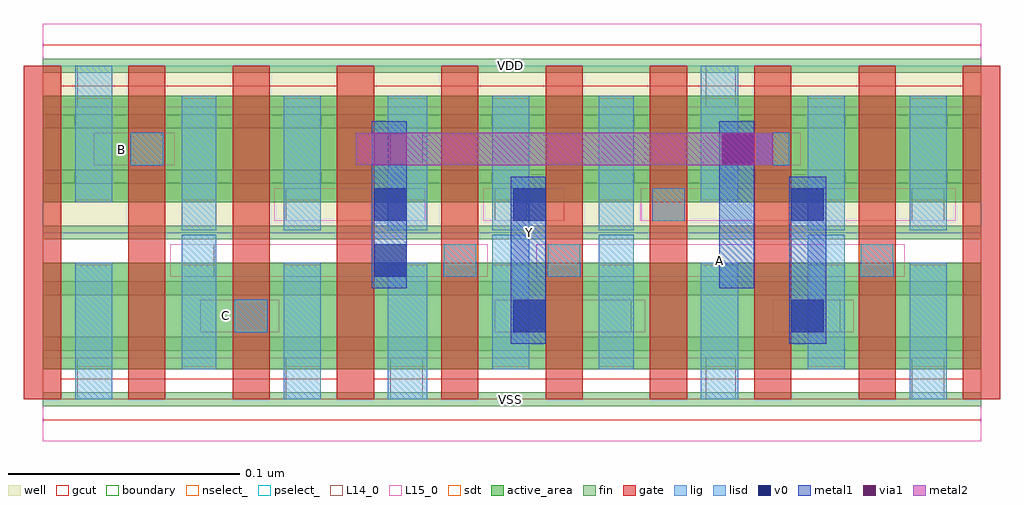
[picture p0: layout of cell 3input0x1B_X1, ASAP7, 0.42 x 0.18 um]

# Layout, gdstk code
import gdstk
lib = gdstk.Library(unit=1e-6, precision=1e-09)
def R(c, l, rs):  # rectangles x0, y0, x1, y1
    for r in rs: c.add(gdstk.rectangle(r[:2], r[2:], *l))
def A(c, l, x, y, w, h, nx, ny, dx, dy):  # array of equal rectangles
    R(c, l, [(x+i*dx, y+j*dy, x+i*dx+w, y+j*dy+h) for i in range(nx) for j in range(ny)])
def P(c, l, *ps):  # polygons
    for p in ps: c.add(gdstk.Polygon(p, *l))
well = (1, 0)
fin = (2, 0)
gate = (7, 0)
gcut = (10, 0)
active_area = (11, 0)
nselect_ = (12, 0)
pselect_ = (13, 0)
L14_0 = (14, 0)
L15_0 = (15, 0)
lig = (16, 0)
lisd = (17, 0)
v0 = (18, 0)
metal1 = (19, 0)
metal2 = (20, 0)
via1 = (21, 0)
sdt = (88, 0)
boundary = (100, 0)

c_3input0x1b_x1 = lib.new_cell('3input0x1B_X1')
R(c_3input0x1b_x1, well, [(0,0.072,0.405,0.144)])
A(c_3input0x1b_x1, fin, 0, -0.003, 0.405, 0.006, 1, 7, 0, 0.024)
A(c_3input0x1b_x1, gate, -0.008, 0, 0.016, 0.144, 10, 1, 0.045, 0)
P(c_3input0x1b_x1, gcut, [(0,-0.009),(0,0),(-0.008,0),(-0.008,0.135),(0.008,0.135),(0.008,0.009),(0.127,0.009),(0.127,0.135),(0.143,0.135),(0.143,0.009),(0.397,0.009),(0.397,0.135),(-0.008,0.135),(-0.008,0.144),(0,0.144),(0,0.153),(0.405,0.153),(0.405,0.144),(0.413,0.144),(0.413,0),(0.405,0),(0.405,-0.009)])
R(c_3input0x1b_x1, active_area, [(0,0.013,0.405,0.059), (0,0.085,0.405,0.131)])
R(c_3input0x1b_x1, nselect_, [(0,0,0.405,0.072)])
R(c_3input0x1b_x1, pselect_, [(0,0.072,0.405,0.144)])
R(c_3input0x1b_x1, L14_0, [(0.015,0,0.03,0.018), (0.105,0,0.12,0.018), (0.15,0,0.164,0.018), (0.286,0,0.299,0.018), (0.375,0,0.389,0.018), (0.083,0.029,0.097,0.043), (0.24,0.029,0.254,0.043), (0.33,0.029,0.344,0.043), (0.06,0.053,0.074,0.067), (0.173,0.053,0.187,0.067), (0.218,0.053,0.232,0.067), (0.353,0.053,0.367,0.067), (0.105,0.077,0.12,0.091), (0.195,0.077,0.209,0.091), (0.263,0.077,0.277,0.091), (0.375,0.077,0.389,0.091), (0.038,0.101,0.052,0.115), (0.15,0.101,0.164,0.115), (0.24,0.101,0.254,0.115), (0.308,0.101,0.322,0.115), (0.015,0.126,0.03,0.144), (0.286,0.126,0.299,0.144)])
R(c_3input0x1b_x1, L15_0, [(0,-0.018,0.405,0.018), (0.068,0.029,0.102,0.043), (0.195,0.029,0.26,0.043), (0.315,0.029,0.35,0.043), (0.055,0.053,0.192,0.067), (0.213,0.053,0.372,0.067), (0.1,0.077,0.165,0.091), (0.19,0.077,0.225,0.091), (0.258,0.077,0.394,0.091), (0.022,0.101,0.057,0.115), (0.145,0.101,0.26,0.115), (0.285,0.101,0.327,0.115), (0,0.126,0.405,0.162)])
R(c_3input0x1b_x1, lig, [(0.083,0.029,0.097,0.043), (0.173,0.053,0.187,0.067), (0.218,0.053,0.232,0.067), (0.353,0.053,0.367,0.067), (0.263,0.077,0.277,0.091), (0.038,0.101,0.052,0.115), (0.308,0.101,0.322,0.115)])
R(c_3input0x1b_x1, lisd, [(0.014,0,0.03,0.059), (0.104,0,0.12,0.059), (0.149,0,0.166,0.059), (0.284,0,0.3,0.059), (0.374,0,0.39,0.059), (0.06,0.013,0.075,0.071), (0.194,0.013,0.21,0.071), (0.24,0.013,0.255,0.071), (0.33,0.013,0.346,0.071), (0.06,0.073,0.075,0.131), (0.104,0.073,0.12,0.131), (0.149,0.073,0.166,0.131), (0.194,0.073,0.21,0.131), (0.24,0.073,0.255,0.131), (0.33,0.073,0.346,0.131), (0.374,0.073,0.39,0.131), (0.014,0.085,0.03,0.144), (0.284,0.085,0.3,0.144)])
R(c_3input0x1b_x1, v0, [(0.203,0.029,0.217,0.043), (0.323,0.029,0.337,0.043), (0.143,0.053,0.157,0.067), (0.143,0.077,0.157,0.091), (0.203,0.077,0.217,0.091), (0.323,0.077,0.337,0.091), (0.293,0.101,0.307,0.115)])
R(c_3input0x1b_x1, metal1, [(0.202,0.024,0.217,0.096), (0.322,0.024,0.338,0.096), (0.142,0.048,0.157,0.12), (0.292,0.048,0.307,0.12)])
R(c_3input0x1b_x1, metal2, [(0.135,0.101,0.315,0.115)])
R(c_3input0x1b_x1, via1, [(0.143,0.101,0.157,0.115), (0.293,0.101,0.307,0.115)])
A(c_3input0x1b_x1, sdt, 0.014, 0.014, 0.016, 0.044, 4, 2, 0.09, 0.072)
R(c_3input0x1b_x1, sdt, [(0.06,0.014,0.075,0.058), (0.149,0.014,0.166,0.058), (0.24,0.014,0.255,0.058), (0.33,0.014,0.346,0.058), (0.374,0.014,0.39,0.058), (0.06,0.086,0.075,0.13), (0.149,0.086,0.166,0.13), (0.24,0.086,0.255,0.13), (0.33,0.086,0.346,0.13), (0.374,0.086,0.39,0.13)])
R(c_3input0x1b_x1, boundary, [(0,0,0.405,0.144)])
c_3input0x1b_x1.add(gdstk.Label('A', (0.292,0.06), layer=15, texttype=251))
c_3input0x1b_x1.add(gdstk.Label('VSS', (0.202,0), layer=15, texttype=251))
c_3input0x1b_x1.add(gdstk.Label('VDD', (0.202,0.144), layer=15, texttype=251))
c_3input0x1b_x1.add(gdstk.Label('C', (0.079,0.036), layer=15, texttype=251))
c_3input0x1b_x1.add(gdstk.Label('VSS', (0.202,0), layer=15, texttype=251))
c_3input0x1b_x1.add(gdstk.Label('VDD', (0.202,0.144), layer=15, texttype=251))
c_3input0x1b_x1.add(gdstk.Label('VSS', (0.202,0), layer=15, texttype=251))
c_3input0x1b_x1.add(gdstk.Label('VDD', (0.202,0.144), layer=15, texttype=251))
c_3input0x1b_x1.add(gdstk.Label('B', (0.034,0.108), layer=15, texttype=251))
c_3input0x1b_x1.add(gdstk.Label('VSS', (0.202,0), layer=15, texttype=251))
c_3input0x1b_x1.add(gdstk.Label('VDD', (0.202,0.144), layer=15, texttype=251))
c_3input0x1b_x1.add(gdstk.Label('VSS', (0.202,0), layer=3, texttype=251))
c_3input0x1b_x1.add(gdstk.Label('VSS', (0.202,0), layer=3, texttype=251))
c_3input0x1b_x1.add(gdstk.Label('VSS', (0.202,0), layer=3, texttype=251))
c_3input0x1b_x1.add(gdstk.Label('VSS', (0.202,0), layer=3, texttype=251))
c_3input0x1b_x1.add(gdstk.Label('VDD', (0.202,0.144), layer=1, texttype=251))
c_3input0x1b_x1.add(gdstk.Label('VDD', (0.202,0.144), layer=1, texttype=251))
c_3input0x1b_x1.add(gdstk.Label('VDD', (0.202,0.144), layer=1, texttype=251))
c_3input0x1b_x1.add(gdstk.Label('VDD', (0.202,0.144), layer=1, texttype=251))
c_3input0x1b_x1.add(gdstk.Label('Y', (0.21,0.072), layer=19, texttype=251))

lib.write_gds('3input0x1B_X1.gds')
